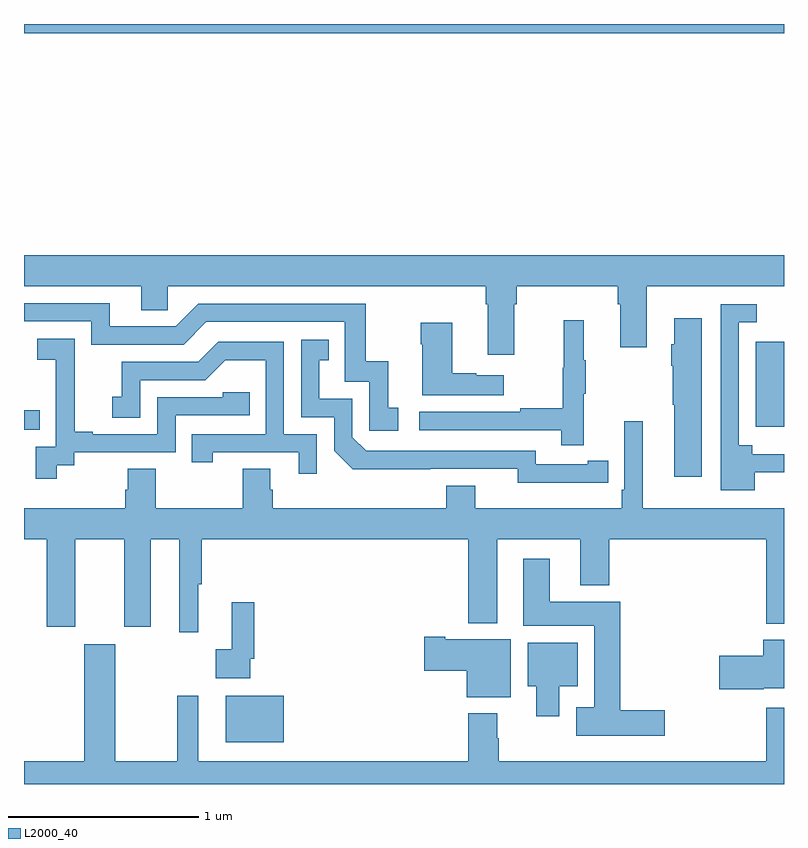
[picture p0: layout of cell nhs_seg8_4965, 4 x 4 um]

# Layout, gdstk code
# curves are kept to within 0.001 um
import gdstk
lib = gdstk.Library(unit=1e-6, precision=1e-09)
def R(c, l, rs):  # rectangles x0, y0, x1, y1
    for r in rs: c.add(gdstk.rectangle(r[:2], r[2:], *l))
def P(c, l, *ps):  # polygons
    for p in ps: c.add(gdstk.Polygon(p, *l))
L2000_40 = (2000, 40)

nhs_seg8_4965 = lib.new_cell('nhs_seg8_4965')
R(nhs_seg8_4965, L2000_40, [(412.061,1094.12,412.366,1094.365), (411,1095.765,411.083,1095.866), (414.851,1095.78,415,1096.228), (411,1097.852,415,1097.9)])
P(nhs_seg8_4965, L2000_40, [(413.581,1096.424),(413.594,1096.424),(413.594,1096.52),(414.125,1096.52),(414.125,1096.424),(414.137,1096.424),(414.137,1096.2),(414.277,1096.2),(414.277,1096.52),(415,1096.52),(415,1096.684),(411,1096.684),(411,1096.52),(411.617,1096.52),(411.617,1096.393),(411.756,1096.393),(411.756,1096.52),(413.429,1096.52),(413.429,1096.424),(413.441,1096.424),(413.441,1096.158),(413.581,1096.158)],
  [(412.969,1095.879),(412.916,1095.879),(412.916,1096.126),(412.798,1096.126),(412.798,1096.428),(411.918,1096.428),(411.798,1096.308),(411.451,1096.308),(411.451,1096.431),(411,1096.431),(411,1096.335),(411.354,1096.335),(411.354,1096.212),(411.84,1096.212),(411.96,1096.332),(412.689,1096.332),(412.689,1096.017),(412.818,1096.017),(412.818,1095.759),(412.969,1095.759)],
  [(414.847,1095.54),(415,1095.54),(415,1095.636),(414.832,1095.636),(414.832,1095.682),(414.762,1095.682),(414.762,1096.329),(414.856,1096.329),(414.856,1096.425),(414.666,1096.425),(414.666,1095.446),(414.847,1095.446)],
  [(414.568,1096.351),(414.422,1096.351),(414.422,1096.215),(414.407,1096.215),(414.407,1096.101),(414.415,1096.101),(414.415,1095.895),(414.422,1095.895),(414.422,1095.516),(414.568,1095.516)],
  [(413.945,1095.955),(413.956,1095.955),(413.956,1096.129),(413.945,1096.129),(413.945,1096.342),(413.842,1096.342),(413.842,1096.092),(413.835,1096.092),(413.835,1095.878),(413.611,1095.878),(413.611,1095.858),(413.079,1095.858),(413.079,1095.762),(413.827,1095.762),(413.827,1095.684),(413.945,1095.684)],
  [(413.524,1096.051),(413.381,1096.051),(413.381,1096.061),(413.254,1096.061),(413.254,1096.327),(413.089,1096.327),(413.089,1096.214),(413.096,1096.214),(413.096,1095.947),(413.524,1095.947)],
  [(411.172,1095.577),(411.264,1095.577),(411.264,1095.645),(411.798,1095.645),(411.798,1095.84),(412.187,1095.84),(412.187,1095.963),(412.047,1095.963),(412.047,1095.936),(411.702,1095.936),(411.702,1095.741),(411.361,1095.741),(411.361,1095.754),(411.266,1095.754),(411.266,1096.037),(411.267,1096.037),(411.267,1096.243),(411.069,1096.243),(411.069,1096.133),(411.167,1096.133),(411.167,1095.905),(411.168,1095.905),(411.168,1095.675),(411.063,1095.675),(411.063,1095.507),(411.172,1095.507)],
  [(413.966,1095.486),(414.074,1095.486),(414.074,1095.602),(413.966,1095.602),(413.966,1095.582),(413.694,1095.582),(413.694,1095.654),(412.8,1095.654),(412.728,1095.726),(412.728,1095.927),(412.555,1095.927),(412.555,1096.131),(412.604,1096.131),(412.604,1096.237),(412.458,1096.237),(412.458,1095.831),(412.632,1095.831),(412.632,1095.654),(412.73,1095.557),(413.598,1095.558),(413.598,1095.485)],
  [(412.542,1095.741),(412.368,1095.741),(412.368,1096.227),(412.022,1096.227),(411.917,1096.122),(411.514,1096.122),(411.514,1095.937),(411.465,1095.937),(411.465,1095.828),(411.612,1095.828),(411.612,1096.026),(411.954,1096.026),(412.058,1096.13),(412.272,1096.13),(412.272,1095.741),(411.883,1095.741),(411.883,1095.594),(411.994,1095.594),(411.994,1095.645),(412.445,1095.645),(412.445,1095.534),(412.542,1095.534)],
  [(411.917,1094.952),(411.935,1094.952),(411.935,1095.188),(413.339,1095.188),(413.339,1094.747),(413.491,1094.747),(413.491,1095.188),(413.927,1095.188),(413.927,1094.945),(414.08,1094.945),(414.08,1095.188),(414.906,1095.188),(414.906,1094.744),(415,1094.744),(415,1095.352),(414.256,1095.352),(414.256,1095.808),(414.159,1095.808),(414.159,1095.448),(414.146,1095.448),(414.146,1095.352),(413.374,1095.352),(413.374,1095.469),(413.222,1095.469),(413.222,1095.352),(412.31,1095.352),(412.31,1095.45),(412.297,1095.45),(412.297,1095.56),(412.15,1095.56),(412.15,1095.352),(411.693,1095.352),(411.693,1095.56),(411.545,1095.56),(411.545,1095.45),(411.533,1095.45),(411.533,1095.352),(411,1095.352),(411,1095.188),(411.119,1095.188),(411.119,1094.727),(411.271,1094.727),(411.271,1095.188),(411.527,1095.188),(411.527,1094.727),(411.667,1094.727),(411.667,1095.188),(411.818,1095.188),(411.818,1094.7),(411.917,1094.7)],
  [(414.373,1094.288),(414.137,1094.288),(414.137,1094.86),(413.767,1094.86),(413.767,1095.085),(413.627,1095.085),(413.627,1094.732),(414.002,1094.732),(414.002,1094.305),(413.907,1094.305),(413.907,1094.153),(414.373,1094.153)],
  [(412.191,1094.56),(412.211,1094.56),(412.211,1094.857),(412.094,1094.857),(412.094,1094.609),(412.008,1094.609),(412.008,1094.456),(412.191,1094.456)],
  [(413.563,1094.662),(413.218,1094.662),(413.218,1094.675),(413.106,1094.675),(413.106,1094.497),(413.33,1094.497),(413.33,1094.357),(413.563,1094.357)],
  [(414.894,1094.405),(415,1094.405),(415,1094.659),(414.89,1094.659),(414.89,1094.576),(414.66,1094.576),(414.66,1094.398),(414.894,1094.398)],
  [(413.818,1094.414),(413.914,1094.414),(413.914,1094.644),(413.651,1094.644),(413.651,1094.414),(413.696,1094.414),(413.696,1094.256),(413.818,1094.256)],
  [(414.906,1094.02),(413.499,1094.02),(413.499,1094.141),(413.491,1094.141),(413.491,1094.272),(413.339,1094.272),(413.339,1094.02),(411.916,1094.02),(411.916,1094.365),(411.807,1094.365),(411.807,1094.02),(411.481,1094.02),(411.481,1094.635),(411.317,1094.635),(411.317,1094.02),(411,1094.02),(411,1093.9),(415,1093.9),(415,1094.302),(414.906,1094.302)])

lib.write_gds('nhs_seg8_4965.gds')
